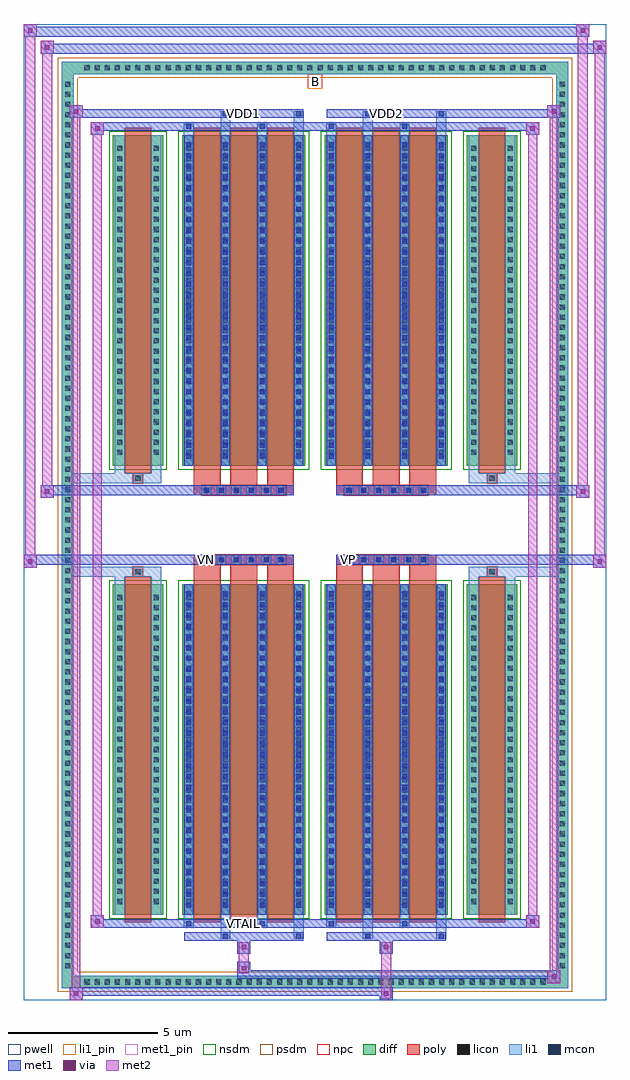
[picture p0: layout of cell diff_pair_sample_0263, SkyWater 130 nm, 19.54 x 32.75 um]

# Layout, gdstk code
import gdstk
lib = gdstk.Library(unit=1e-6, precision=5e-09)
def R(c, l, rs):  # rectangles x0, y0, x1, y1
    for r in rs: c.add(gdstk.rectangle(r[:2], r[2:], *l))
def A(c, l, x, y, w, h, nx, ny, dx, dy):  # array of equal rectangles
    R(c, l, [(x+i*dx, y+j*dy, x+i*dx+w, y+j*dy+h) for i in range(nx) for j in range(ny)])
def P(c, l, *ps):  # polygons
    for p in ps: c.add(gdstk.Polygon(p, *l))
pwell = (64, 44)
diff = (65, 20)
poly = (66, 20)
licon = (66, 44)
li1_pin = (67, 16)
li1 = (67, 20)
mcon = (67, 44)
met1_pin = (68, 16)
met1 = (68, 20)
via = (68, 44)
met2 = (69, 20)
nsdm = (93, 44)
psdm = (94, 20)
npc = (95, 20)

diff_pair_sample_0263 = lib.new_cell('diff_pair_sample_0263')
R(diff_pair_sample_0263, pwell, [(-9.77,-15.94,9.77,16.81), (-7.09,-14.13,-0.01,-0.805), (0.01,-14.13,7.09,-0.805), (-7.09,0.805,-0.01,14.13), (0.01,0.805,7.09,14.13)])
A(diff_pair_sample_0263, diff, -7.855, -15.54, 0.41, 0.41, 46, 2, 0.34, 30.67)
A(diff_pair_sample_0263, diff, -8.5, -14.995, 0.41, 0.41, 1, 88, 0, 0.34)
A(diff_pair_sample_0263, diff, 8.09, -14.995, 0.41, 0.41, 1, 88, 0, 0.34)
R(diff_pair_sample_0263, diff, [(-7.855,-15.54,7.855,-15.13), (-8.5,-14.995,-8.09,14.995), (8.09,-14.995,8.5,14.995), (-6.78,-13.085,-5.1,-1.985), (-4.46,-13.085,-0.32,-1.985), (0.32,-13.085,4.46,-1.985), (5.1,-13.085,6.78,-1.985), (-6.78,1.985,-5.1,13.085), (-4.46,1.985,-0.32,13.085), (0.32,1.985,4.46,13.085), (5.1,1.985,6.78,13.085), (-7.855,15.13,7.855,15.54)])
P(diff_pair_sample_0263, diff, [(8.5,15.54),(-8.5,15.54),(-8.5,-15.13),(-8.09,-15.13),(-8.09,15.13),(8.09,15.13),(8.09,-15.13),(-8.09,-15.13),(-8.5,-15.13),(-8.5,-15.54),(8.5,-15.54)])
A(diff_pair_sample_0263, poly, -4.07, -13.335, 0.9, 11.6, 3, 2, 1.23, 15.07)
A(diff_pair_sample_0263, poly, 0.71, -13.335, 0.9, 11.6, 3, 2, 1.23, 15.07)
A(diff_pair_sample_0263, poly, -4.07, -1.735, 0.9, 0.4, 3, 2, 1.23, 3.07)
A(diff_pair_sample_0263, poly, 0.71, -1.735, 0.9, 0.4, 3, 2, 1.23, 3.07)
A(diff_pair_sample_0263, poly, -3.805, -1.335, 0.33, 0.33, 6, 2, 0.5, 2.34)
A(diff_pair_sample_0263, poly, 0.975, -1.335, 0.33, 0.33, 6, 2, 0.5, 2.34)
R(diff_pair_sample_0263, poly, [(-6.39,-13.335,-5.49,-1.735), (5.49,-13.335,6.39,-1.735), (-6.105,-1.735,-5.775,-1.405), (-6.105,-1.735,-5.775,-1.405), (5.775,-1.735,6.105,-1.405), (5.775,-1.735,6.105,-1.405), (-4.07,-1.335,-0.71,-1.005), (0.71,-1.335,4.07,-1.005), (-4.07,1.005,-0.71,1.335), (0.71,1.005,4.07,1.335), (-6.105,1.405,-5.775,1.735), (-6.105,1.405,-5.775,1.735), (5.775,1.405,6.105,1.735), (5.775,1.405,6.105,1.735), (-6.39,1.735,-5.49,13.335), (5.49,1.735,6.39,13.335)])
A(diff_pair_sample_0263, licon, -7.735, -15.42, 0.17, 0.17, 46, 2, 0.34, 30.67)
A(diff_pair_sample_0263, licon, -8.38, -14.875, 0.17, 0.17, 1, 88, 0, 0.34)
A(diff_pair_sample_0263, licon, 8.21, -14.875, 0.17, 0.17, 1, 88, 0, 0.34)
A(diff_pair_sample_0263, licon, -6.64, -12.72, 0.17, 0.17, 1, 31, 0, 0.34)
A(diff_pair_sample_0263, licon, -5.41, -12.72, 0.17, 0.17, 1, 31, 0, 0.34)
A(diff_pair_sample_0263, licon, -4.32, -12.72, 0.17, 0.17, 4, 31, 1.23, 0.34)
A(diff_pair_sample_0263, licon, 0.46, -12.72, 0.17, 0.17, 4, 31, 1.23, 0.34)
A(diff_pair_sample_0263, licon, 5.24, -12.72, 0.17, 0.17, 1, 31, 0, 0.34)
A(diff_pair_sample_0263, licon, 6.47, -12.72, 0.17, 0.17, 1, 31, 0, 0.34)
A(diff_pair_sample_0263, licon, -3.725, -1.255, 0.17, 0.17, 6, 2, 0.5, 2.34)
A(diff_pair_sample_0263, licon, 1.055, -1.255, 0.17, 0.17, 6, 2, 0.5, 2.34)
A(diff_pair_sample_0263, licon, -6.64, 2.35, 0.17, 0.17, 1, 31, 0, 0.34)
A(diff_pair_sample_0263, licon, -5.41, 2.35, 0.17, 0.17, 1, 31, 0, 0.34)
A(diff_pair_sample_0263, licon, -4.32, 2.35, 0.17, 0.17, 4, 31, 1.23, 0.34)
A(diff_pair_sample_0263, licon, 0.46, 2.35, 0.17, 0.17, 4, 31, 1.23, 0.34)
A(diff_pair_sample_0263, licon, 5.24, 2.35, 0.17, 0.17, 1, 31, 0, 0.34)
A(diff_pair_sample_0263, licon, 6.47, 2.35, 0.17, 0.17, 1, 31, 0, 0.34)
R(diff_pair_sample_0263, licon, [(-6.025,-1.655,-5.855,-1.485), (5.855,-1.655,6.025,-1.485), (-6.025,1.485,-5.855,1.655), (5.855,1.485,6.025,1.655)])
R(diff_pair_sample_0263, li1_pin, [(-0.25,14.63,0.25,15.13)])
A(diff_pair_sample_0263, li1, -7.815, -15.5, 0.33, 0.33, 46, 2, 0.34, 30.67)
A(diff_pair_sample_0263, li1, -8.46, -14.955, 0.33, 0.33, 1, 88, 0, 0.34)
A(diff_pair_sample_0263, li1, 8.13, -14.955, 0.33, 0.33, 1, 88, 0, 0.34)
A(diff_pair_sample_0263, li1, -4.4, -13.085, 0.33, 11.1, 4, 2, 1.23, 15.07)
A(diff_pair_sample_0263, li1, 0.38, -13.085, 0.33, 11.1, 4, 2, 1.23, 15.07)
A(diff_pair_sample_0263, li1, -4.32, -12.84, 0.17, 0.17, 4, 30, 1.23, 0.36)
A(diff_pair_sample_0263, li1, -4.32, -12.84, 0.17, 10.61, 4, 2, 1.23, 15.07)
A(diff_pair_sample_0263, li1, 0.46, -12.84, 0.17, 0.17, 4, 30, 1.23, 0.36)
A(diff_pair_sample_0263, li1, 0.46, -12.84, 0.17, 10.61, 4, 2, 1.23, 15.07)
A(diff_pair_sample_0263, li1, -6.72, -12.8, 0.33, 0.33, 1, 31, 0, 0.34)
A(diff_pair_sample_0263, li1, -5.49, -12.8, 0.33, 0.33, 1, 31, 0, 0.34)
A(diff_pair_sample_0263, li1, -4.4, -12.8, 0.33, 0.33, 4, 31, 1.23, 0.34)
A(diff_pair_sample_0263, li1, 0.38, -12.8, 0.33, 0.33, 4, 31, 1.23, 0.34)
A(diff_pair_sample_0263, li1, 5.16, -12.8, 0.33, 0.33, 1, 31, 0, 0.34)
A(diff_pair_sample_0263, li1, 6.39, -12.8, 0.33, 0.33, 1, 31, 0, 0.34)
A(diff_pair_sample_0263, li1, -3.805, -1.335, 0.33, 0.33, 6, 2, 0.5, 2.34)
A(diff_pair_sample_0263, li1, 0.975, -1.335, 0.33, 0.33, 6, 2, 0.5, 2.34)
A(diff_pair_sample_0263, li1, -4.32, 2.23, 0.17, 0.17, 4, 30, 1.23, 0.36)
A(diff_pair_sample_0263, li1, 0.46, 2.23, 0.17, 0.17, 4, 30, 1.23, 0.36)
A(diff_pair_sample_0263, li1, -6.72, 2.27, 0.33, 0.33, 1, 31, 0, 0.34)
A(diff_pair_sample_0263, li1, -5.49, 2.27, 0.33, 0.33, 1, 31, 0, 0.34)
A(diff_pair_sample_0263, li1, -4.4, 2.27, 0.33, 0.33, 4, 31, 1.23, 0.34)
A(diff_pair_sample_0263, li1, 0.38, 2.27, 0.33, 0.33, 4, 31, 1.23, 0.34)
A(diff_pair_sample_0263, li1, 5.16, 2.27, 0.33, 0.33, 1, 31, 0, 0.34)
A(diff_pair_sample_0263, li1, 6.39, 2.27, 0.33, 0.33, 1, 31, 0, 0.34)
R(diff_pair_sample_0263, li1, [(-8.5,-15.54,-8.09,-15.13), (-8.5,-15.54,-8.09,-15.13), (-8.09,-15.54,8.09,-15.13), (8.09,-15.54,8.5,-15.13), (8.09,-15.54,8.5,-15.13), (-8.5,-15.13,-8.09,15.13), (8.09,-15.13,8.5,15.13), (-3.17,-13.89,-2.84,-13.085), (-3.09,-13.89,-2.92,-13.72), (-0.71,-13.89,-0.38,-13.085), (-0.63,-13.89,-0.46,-13.72), (1.61,-13.89,1.94,-13.085), (1.69,-13.89,1.86,-13.72), (4.07,-13.89,4.4,-13.085), (4.15,-13.89,4.32,-13.72), (-4.4,-13.46,-4.07,-13.085), (-4.32,-13.46,-4.15,-13.29), (-1.94,-13.46,-1.61,-13.085), (-1.86,-13.46,-1.69,-13.29), (0.38,-13.46,0.71,-13.085), (0.46,-13.46,0.63,-13.29), (2.84,-13.46,3.17,-13.085), (2.92,-13.46,3.09,-13.29), (-6.72,-13.085,-6.39,-1.985), (-5.49,-13.085,-5.16,-1.985), (5.16,-13.085,5.49,-1.985), (6.39,-13.085,6.72,-1.985), (-6.72,-1.985,-6.39,-1.405), (-5.49,-1.985,-5.16,-1.405), (5.16,-1.985,5.49,-1.405), (6.39,-1.985,6.72,-1.405), (-8.5,-1.735,-6.105,-1.405), (-6.72,-1.735,-6.105,-1.405), (-6.105,-1.735,-5.775,-1.405), (-5.775,-1.735,-5.16,-1.405), (5.16,-1.735,5.775,-1.405), (5.775,-1.735,6.105,-1.405), (5.775,-1.735,8.5,-1.405), (6.105,-1.735,6.72,-1.405), (-8.5,1.405,-6.105,1.735), (-6.72,1.405,-6.105,1.735), (-6.72,1.405,-6.39,1.985), (-6.105,1.405,-5.775,1.735), (-5.775,1.405,-5.16,1.735), (-5.49,1.405,-5.16,1.985), (5.16,1.405,5.775,1.735), (5.16,1.405,5.49,1.985), (5.775,1.405,6.105,1.735), (5.775,1.405,8.5,1.735), (6.105,1.405,6.72,1.735), (6.39,1.405,6.72,1.985), (-6.72,1.985,-6.39,13.085), (-5.49,1.985,-5.16,13.085), (5.16,1.985,5.49,13.085), (6.39,1.985,6.72,13.085), (-4.4,13.085,-4.07,13.46), (-3.17,13.085,-2.84,13.89), (-1.94,13.085,-1.61,13.46), (-0.71,13.085,-0.38,13.89), (0.38,13.085,0.71,13.46), (1.61,13.085,1.94,13.89), (2.84,13.085,3.17,13.46), (4.07,13.085,4.4,13.89), (-4.32,13.29,-4.15,13.46), (-1.86,13.29,-1.69,13.46), (0.46,13.29,0.63,13.46), (2.92,13.29,3.09,13.46), (-3.09,13.72,-2.92,13.89), (-0.63,13.72,-0.46,13.89), (1.69,13.72,1.86,13.89), (4.15,13.72,4.32,13.89), (-8.5,15.13,-8.09,15.54), (-8.5,15.13,-8.09,15.54), (-8.09,15.13,8.09,15.54), (8.09,15.13,8.5,15.54), (8.09,15.13,8.5,15.54)])
A(diff_pair_sample_0263, mcon, -4.32, -12.84, 0.17, 0.17, 4, 30, 1.23, 0.36)
A(diff_pair_sample_0263, mcon, 0.46, -12.84, 0.17, 0.17, 4, 30, 1.23, 0.36)
A(diff_pair_sample_0263, mcon, -3.725, -1.255, 0.17, 0.17, 6, 2, 0.5, 2.34)
A(diff_pair_sample_0263, mcon, 1.055, -1.255, 0.17, 0.17, 6, 2, 0.5, 2.34)
A(diff_pair_sample_0263, mcon, -4.32, 2.23, 0.17, 0.17, 4, 30, 1.23, 0.36)
A(diff_pair_sample_0263, mcon, 0.46, 2.23, 0.17, 0.17, 4, 30, 1.23, 0.36)
R(diff_pair_sample_0263, mcon, [(-3.09,-13.89,-2.92,-13.72), (-0.63,-13.89,-0.46,-13.72), (1.69,-13.89,1.86,-13.72), (4.15,-13.89,4.32,-13.72), (-4.32,-13.46,-4.15,-13.29), (-1.86,-13.46,-1.69,-13.29), (0.46,-13.46,0.63,-13.29), (2.92,-13.46,3.09,-13.29), (-4.32,13.29,-4.15,13.46), (-1.86,13.29,-1.69,13.46), (0.46,13.29,0.63,13.46), (2.92,13.29,3.09,13.46), (-3.09,13.72,-2.92,13.89), (-0.63,13.72,-0.46,13.89), (1.69,13.72,1.86,13.89), (4.15,13.72,4.32,13.89)])
R(diff_pair_sample_0263, met1_pin, [(-2.525,-13.5,-2.255,-13.23), (-3.775,-1.295,-3.505,-1.025), (1.005,-1.295,1.275,-1.025), (-2.525,13.68,-2.255,13.95), (2.255,13.68,2.525,13.95)])
A(diff_pair_sample_0263, met1, -4.38, -13.085, 0.29, 11.1, 4, 2, 1.23, 15.07)
A(diff_pair_sample_0263, met1, 0.4, -13.085, 0.29, 11.1, 4, 2, 1.23, 15.07)
A(diff_pair_sample_0263, met1, -4.38, -12.9, 0.29, 0.29, 4, 30, 1.23, 0.36)
A(diff_pair_sample_0263, met1, 0.4, -12.9, 0.29, 0.29, 4, 30, 1.23, 0.36)
A(diff_pair_sample_0263, met1, -3.785, -1.315, 0.29, 0.29, 6, 2, 0.5, 2.34)
A(diff_pair_sample_0263, met1, 0.995, -1.315, 0.29, 0.29, 6, 2, 0.5, 2.34)
A(diff_pair_sample_0263, met1, -4.38, 2.17, 0.29, 0.29, 4, 30, 1.23, 0.36)
A(diff_pair_sample_0263, met1, 0.4, 2.17, 0.29, 0.29, 4, 30, 1.23, 0.36)
R(diff_pair_sample_0263, met1, [(-8.23,-15.94,-7.8,-15.51), (2.175,-15.94,2.605,-15.51), (-8.23,-15.8,2.605,-15.51), (7.8,-15.37,8.23,-14.94), (-2.605,-15.23,8.23,-14.94), (-2.605,-15.09,-2.175,-14.66), (-2.605,-14.38,-2.175,-13.95), (2.175,-14.38,2.605,-13.95), (-4.38,-13.95,-0.4,-13.66), (-3.15,-13.95,-2.86,-13.66), (-0.69,-13.95,-0.4,-13.66), (0.4,-13.95,4.38,-13.66), (1.63,-13.95,1.92,-13.66), (4.09,-13.95,4.38,-13.66), (-7.52,-13.52,-7.09,-13.09), (-7.52,-13.52,-4.38,-13.23), (-4.38,-13.52,-4.09,-13.23), (-4.38,-13.52,-0.4,-13.23), (-1.92,-13.52,-1.63,-13.23), (-0.4,-13.52,0.4,-13.23), (0.4,-13.52,0.69,-13.23), (0.4,-13.52,4.38,-13.23), (2.86,-13.52,3.15,-13.23), (4.38,-13.52,7.52,-13.23), (7.09,-13.52,7.52,-13.09), (-9.77,-1.435,-9.34,-1.005), (9.34,-1.435,9.77,-1.005), (-9.77,-1.335,-0.71,-1.005), (-4.07,-1.335,-0.71,-1.005), (0.71,-1.335,4.07,-1.005), (0.71,-1.335,9.77,-1.005), (-9.2,0.905,-8.77,1.335), (8.77,0.905,9.2,1.335), (-9.2,1.005,-4.07,1.335), (-4.07,1.005,-0.71,1.335), (0.71,1.005,4.07,1.335), (4.07,1.005,9.2,1.335), (-7.52,13.09,-7.09,13.52), (7.09,13.09,7.52,13.52), (-7.52,13.23,-4.38,13.52), (-4.38,13.23,-4.09,13.52), (-4.38,13.23,-0.4,13.52), (-1.92,13.23,-1.63,13.52), (-0.4,13.23,0.4,13.52), (0.4,13.23,0.69,13.52), (0.4,13.23,4.38,13.52), (2.86,13.23,3.15,13.52), (4.38,13.23,7.52,13.52), (-8.23,13.66,-7.8,14.09), (-8.23,13.66,-4.38,13.95), (-4.38,13.66,-0.4,13.95), (-3.15,13.66,-2.86,13.95), (-0.69,13.66,-0.4,13.95), (0.4,13.66,4.38,13.95), (1.63,13.66,1.92,13.95), (4.09,13.66,4.38,13.95), (4.38,13.66,8.23,13.95), (7.8,13.66,8.23,14.09), (-9.2,15.81,-8.77,16.24), (-9.2,15.81,-7.09,16.14), (-7.09,15.81,7.09,16.14), (7.09,15.81,9.77,16.14), (9.34,15.81,9.77,16.24), (-9.77,16.38,-9.34,16.81), (-9.77,16.38,-7.09,16.71), (-7.09,16.38,7.09,16.71), (7.09,16.38,9.2,16.71), (8.77,16.38,9.2,16.81)])
R(diff_pair_sample_0263, via, [(-8.09,-15.8,-7.94,-15.65), (2.315,-15.8,2.465,-15.65), (7.94,-15.23,8.09,-15.08), (-2.465,-14.95,-2.315,-14.8), (-2.465,-14.24,-2.315,-14.09), (2.315,-14.24,2.465,-14.09), (-7.38,-13.38,-7.23,-13.23), (7.23,-13.38,7.38,-13.23), (-9.63,-1.295,-9.48,-1.145), (9.48,-1.295,9.63,-1.145), (-9.06,1.045,-8.91,1.195), (8.91,1.045,9.06,1.195), (-7.38,13.23,-7.23,13.38), (7.23,13.23,7.38,13.38), (-8.09,13.8,-7.94,13.95), (7.94,13.8,8.09,13.95), (-9.06,15.95,-8.91,16.1), (9.48,15.95,9.63,16.1), (-9.63,16.52,-9.48,16.67), (8.91,16.52,9.06,16.67)])
R(diff_pair_sample_0263, met2, [(-8.23,-15.94,-7.8,-15.51), (-8.16,-15.94,-7.87,14.09), (-7.87,-15.94,-7.8,-15.51), (-8.18,-15.89,-7.85,-15.56), (2.225,-15.89,2.555,-15.56), (2.225,-15.56,2.555,-14.33), (7.8,-15.37,8.23,-14.94), (7.87,-15.37,8.16,14.09), (8.16,-15.37,8.23,-14.94), (7.85,-15.32,8.18,-14.99), (-2.555,-15.04,-2.225,-14.71), (-2.555,-14.71,-2.225,-14.33), (-2.555,-14.33,-2.225,-14), (2.225,-14.33,2.555,-14), (-7.52,-13.52,-7.09,-13.09), (-7.45,-13.52,-7.16,13.52), (-7.16,-13.52,-7.09,-13.09), (7.09,-13.52,7.52,-13.09), (7.16,-13.52,7.45,13.52), (7.45,-13.52,7.52,-13.09), (-7.47,-13.47,-7.14,-13.14), (7.14,-13.47,7.47,-13.14), (-9.77,-1.435,-9.34,-1.005), (-9.72,-1.435,-9.39,16.81), (-9.39,-1.435,-9.34,-1.005), (9.34,-1.435,9.77,-1.005), (9.39,-1.435,9.72,16.24), (9.72,-1.435,9.77,-1.005), (-9.72,-1.385,-9.39,-1.055), (9.39,-1.385,9.72,-1.055), (-9.2,0.905,-8.77,1.335), (-9.15,0.905,-8.82,16.24), (-8.82,0.905,-8.77,1.335), (8.77,0.905,9.2,1.335), (8.82,0.905,9.15,16.81), (9.15,0.905,9.2,1.335), (-9.15,0.955,-8.82,1.285), (8.82,0.955,9.15,1.285), (-7.52,13.09,-7.09,13.52), (-7.16,13.09,-7.09,13.52), (7.09,13.09,7.52,13.52), (7.45,13.09,7.52,13.52), (-7.47,13.14,-7.14,13.47), (7.14,13.14,7.47,13.47), (-8.23,13.66,-7.8,14.09), (-7.87,13.66,-7.8,14.09), (7.8,13.66,8.23,14.09), (8.16,13.66,8.23,14.09), (-8.18,13.71,-7.85,14.04), (7.85,13.71,8.18,14.04), (-9.2,15.81,-8.77,16.24), (-8.82,15.81,-8.77,16.24), (9.34,15.81,9.77,16.24), (9.72,15.81,9.77,16.24), (-9.15,15.86,-8.82,16.19), (9.39,15.86,9.72,16.19), (-9.77,16.38,-9.34,16.81), (-9.39,16.38,-9.34,16.81), (8.77,16.38,9.2,16.81), (9.15,16.38,9.2,16.81), (-9.72,16.43,-9.39,16.76), (8.82,16.43,9.15,16.76)])
R(diff_pair_sample_0263, nsdm, [(-6.91,-13.215,-4.97,-1.855), (-4.59,-13.215,-0.19,-1.855), (0.19,-13.215,4.59,-1.855), (4.97,-13.215,6.91,-1.855), (-6.91,1.855,-4.97,13.215), (-4.59,1.855,-0.19,13.215), (0.19,1.855,4.59,13.215), (4.97,1.855,6.91,13.215)])
P(diff_pair_sample_0263, psdm, [(8.63,15.67),(-8.63,15.67),(-8.63,-15),(-7.96,-15),(-7.96,15),(7.96,15),(7.96,-15),(-7.96,-15),(-8.63,-15),(-8.63,-15.67),(8.63,-15.67)])
A(diff_pair_sample_0263, npc, -3.825, -1.355, 0.37, 0.37, 6, 2, 0.5, 2.34)
A(diff_pair_sample_0263, npc, 0.955, -1.355, 0.37, 0.37, 6, 2, 0.5, 2.34)
R(diff_pair_sample_0263, npc, [(-6.125,-1.755,-5.755,-1.385), (5.755,-1.755,6.125,-1.385), (-3.825,-1.355,-2.955,-0.985), (-3.825,-1.355,-2.955,-0.985), (-3.325,-1.355,-2.455,-0.985), (-3.325,-1.355,-2.455,-0.985), (-2.825,-1.355,-1.955,-0.985), (-2.825,-1.355,-1.955,-0.985), (-2.325,-1.355,-1.455,-0.985), (-2.325,-1.355,-1.455,-0.985), (-1.825,-1.355,-0.955,-0.985), (-1.825,-1.355,-0.955,-0.985), (0.955,-1.355,1.825,-0.985), (0.955,-1.355,1.825,-0.985), (1.455,-1.355,2.325,-0.985), (1.455,-1.355,2.325,-0.985), (1.955,-1.355,2.825,-0.985), (1.955,-1.355,2.825,-0.985), (2.455,-1.355,3.325,-0.985), (2.455,-1.355,3.325,-0.985), (2.955,-1.355,3.825,-0.985), (2.955,-1.355,3.825,-0.985), (-3.825,0.985,-2.955,1.355), (-3.825,0.985,-2.955,1.355), (-3.325,0.985,-2.455,1.355), (-3.325,0.985,-2.455,1.355), (-2.825,0.985,-1.955,1.355), (-2.825,0.985,-1.955,1.355), (-2.325,0.985,-1.455,1.355), (-2.325,0.985,-1.455,1.355), (-1.825,0.985,-0.955,1.355), (-1.825,0.985,-0.955,1.355), (0.955,0.985,1.825,1.355), (0.955,0.985,1.825,1.355), (1.455,0.985,2.325,1.355), (1.455,0.985,2.325,1.355), (1.955,0.985,2.825,1.355), (1.955,0.985,2.825,1.355), (2.455,0.985,3.325,1.355), (2.455,0.985,3.325,1.355), (2.955,0.985,3.825,1.355), (2.955,0.985,3.825,1.355), (-6.125,1.385,-5.755,1.755), (5.755,1.385,6.125,1.755)])
diff_pair_sample_0263.add(gdstk.Label('VTAIL', (-2.39,-13.365), layer=68, texttype=5))
diff_pair_sample_0263.add(gdstk.Label('VN', (-3.64,-1.16), layer=68, texttype=5))
diff_pair_sample_0263.add(gdstk.Label('VP', (1.14,-1.16), layer=68, texttype=5))
diff_pair_sample_0263.add(gdstk.Label('B', (0,14.88), layer=67, texttype=5))
diff_pair_sample_0263.add(gdstk.Label('VDD2', (2.39,13.815), layer=68, texttype=5))
diff_pair_sample_0263.add(gdstk.Label('VDD1', (-2.39,13.815), layer=68, texttype=5))

lib.write_gds('diff_pair_sample_0263.gds')
